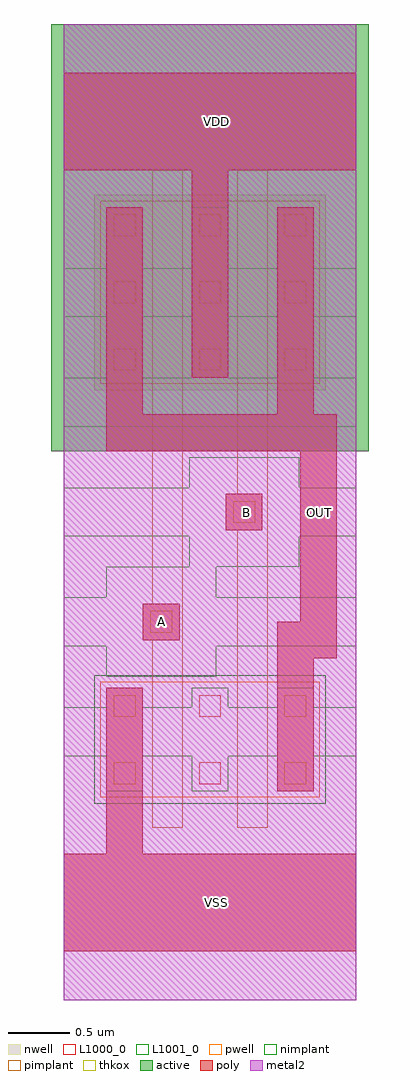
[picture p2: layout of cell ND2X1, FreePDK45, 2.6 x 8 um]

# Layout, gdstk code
import gdstk
lib = gdstk.Library(unit=1e-6, precision=1e-09)
def R(c, l, rs):  # rectangles x0, y0, x1, y1
    for r in rs: c.add(gdstk.rectangle(r[:2], r[2:], *l))
def A(c, l, x, y, w, h, nx, ny, dx, dy):  # array of equal rectangles
    R(c, l, [(x+i*dx, y+j*dy, x+i*dx+w, y+j*dy+h) for i in range(nx) for j in range(ny)])
active = (1, 0)
pwell = (2, 0)
nwell = (3, 0)
nimplant = (4, 0)
pimplant = (5, 0)
thkox = (8, 0)
poly = (9, 0)
metal2 = (13, 0)
L1000_0 = (1000, 0)
L1001_0 = (1001, 0)

polym1 = lib.new_cell('POLYM1')
R(polym1, pimplant, [(-0.15,-0.15,0.15,0.15)])
R(polym1, thkox, [(-0.09,-0.09,0.09,0.09)])
R(polym1, poly, [(-0.15,-0.15,0.15,0.15)])
R(polym1, L1001_0, [(-0.45,-0.45,0.45,0.45)])

nmos2 = lib.new_cell('NMOS2')
R(nmos2, pwell, [(0,0,1.1,0.95)])
R(nmos2, nimplant, [(-0.05,-0.05,1.15,1)])
R(nmos2, pimplant, [(0.425,-0.25,0.675,1.2)])
R(nmos2, L1000_0, [(0.11,0.11,0.29,0.29), (0.81,0.11,0.99,0.29), (0.11,0.66,0.29,0.84), (0.81,0.66,0.99,0.84)])
R(nmos2, L1001_0, [(0.05,0.05,0.35,0.9), (0.75,0.05,1.05,0.9)])

pmos3 = lib.new_cell('PMOS3')
R(pmos3, pwell, [(0,0,1.1,1.5), (0,0,1.1,1.5)])
R(pmos3, nwell, [(-0.05,-0.05,1.15,1.55)])
R(pmos3, pimplant, [(0.425,-0.25,0.675,1.75), (0.425,-0.25,0.675,1.75)])
A(pmos3, L1000_0, 0.11, 0.11, 0.18, 0.18, 1, 3, 0, 0.55)
A(pmos3, L1000_0, 0.81, 0.11, 0.18, 0.18, 1, 3, 0, 0.55)
R(pmos3, L1001_0, [(0.05,0.05,0.35,1.45), (0.75,0.05,1.05,1.45)])

nd2x1 = lib.new_cell('ND2X1')
R(nd2x1, active, [(-0.1,4.5,2.5,8)])
R(nd2x1, pimplant, [(0.725,2.86,0.975,4.8), (1.425,2.86,1.675,4.8)])
A(nd2x1, thkox, 0.41, 5.16, 0.18, 0.18, 3, 3, 0.7, 0.55)
R(nd2x1, thkox, [(0.41,1.77,0.59,1.95), (1.81,1.77,1.99,1.95), (0.41,2.32,0.59,2.5), (1.81,2.32,1.99,2.5)])
R(nd2x1, poly, [(0,0.4,2.4,1.2), (0.35,1.2,0.65,2.56), (1.75,4.8,2.05,5.1), (0.35,5.1,0.65,6.5), (1.05,5.1,1.35,6.8), (1.75,5.1,2.05,6.5), (0,6.8,2.4,7.6)])
R(nd2x1, metal2, [(0,0,2.4,8)])
nd2x1.add(gdstk.FlexPath([(0,2.2),(2.4,2.2)], 0.4, ends="flush", simple_path=True, layer=1001, datatype=0))  # L1001_0
nd2x1.add(gdstk.FlexPath([(0,3.1),(2.4,3.1)], 0.4, ends="flush", simple_path=True, layer=1001, datatype=0))  # L1001_0
nd2x1.add(gdstk.FlexPath([(0,4),(2.4,4)], 0.4, ends="flush", simple_path=True, layer=1001, datatype=0))  # L1001_0
nd2x1.add(gdstk.FlexPath([(0,4.9),(2.4,4.9)], 0.4, ends="flush", simple_path=True, layer=1001, datatype=0))  # L1001_0
nd2x1.add(gdstk.FlexPath([(0,5.8),(2.4,5.8),(2.4,5.8)], 0.4, ends="flush", simple_path=True, layer=1001, datatype=0))  # L1001_0
nd2x1.add(gdstk.FlexPath([(1.9,1.71),(1.9,2.95),(2.09,2.95),(2.09,4.65),(0.5,4.65),(0.5,5.1)], 0.3, ends="flush", simple_path=True, layer=9, datatype=0))  # poly
nd2x1.add(gdstk.Reference(polym1, (0.8,3.1)))
nd2x1.add(gdstk.Reference(polym1, (1.48,4)))
nd2x1.add(gdstk.Reference(nmos2, (0.3,1.66)))
nd2x1.add(gdstk.Reference(pmos3, (0.3,5.05)))
nd2x1.add(gdstk.Reference(pmos3, (1,5.05)))
nd2x1.add(gdstk.Reference(nmos2, (1,1.66)))
nd2x1.add(gdstk.Label('VDD', (1.25,7.2), layer=9, texttype=0))
nd2x1.add(gdstk.Label('VSS', (1.25,0.8), layer=9, texttype=0))
nd2x1.add(gdstk.Label('OUT', (2.1,4), layer=9, texttype=0))
nd2x1.add(gdstk.Label('A', (0.8,3.1), layer=9, texttype=0))
nd2x1.add(gdstk.Label('B', (1.5,4), layer=9, texttype=0))

lib.write_gds('ND2X1.gds')
